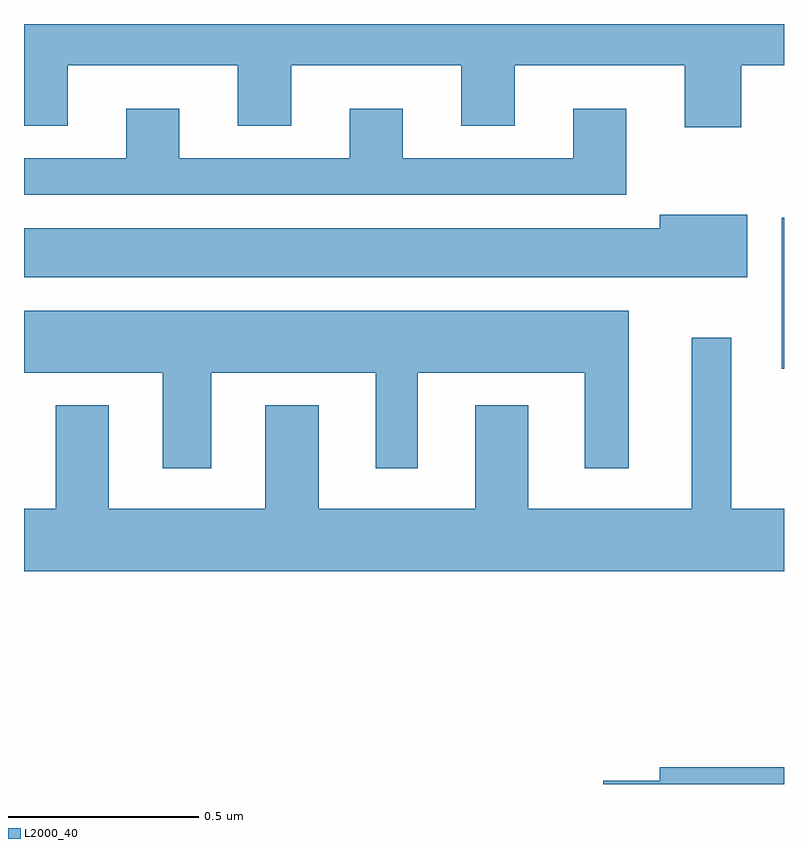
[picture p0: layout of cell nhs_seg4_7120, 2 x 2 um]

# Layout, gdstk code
import gdstk
lib = gdstk.Library(unit=1e-6, precision=1e-09)
def R(c, l, rs):  # rectangles x0, y0, x1, y1
    for r in rs: c.add(gdstk.rectangle(r[:2], r[2:], *l))
def P(c, l, *ps):  # polygons
    for p in ps: c.add(gdstk.Polygon(p, *l))
L2000_40 = (2000, 40)

nhs_seg4_7120 = lib.new_cell('nhs_seg4_7120')
R(nhs_seg4_7120, L2000_40, [(199.994,823.993,200,824.39)])
P(nhs_seg4_7120, L2000_40, [(199.887,824.792),(200,824.792),(200,824.9),(198,824.9),(198,824.632),(198.115,824.632),(198.115,824.792),(198.563,824.792),(198.563,824.632),(198.703,824.632),(198.703,824.792),(199.151,824.792),(199.151,824.632),(199.291,824.632),(199.291,824.792),(199.739,824.792),(199.739,824.628),(199.887,824.628)],
  [(199.585,824.677),(199.445,824.677),(199.445,824.547),(198.997,824.547),(198.997,824.677),(198.857,824.677),(198.857,824.547),(198.409,824.547),(198.409,824.677),(198.269,824.677),(198.269,824.547),(198,824.547),(198,824.451),(199.585,824.451)],
  [(199.903,824.398),(199.673,824.398),(199.673,824.362),(198,824.362),(198,824.234),(199.903,824.234)],
  [(198.493,823.982),(198.926,823.982),(198.926,823.731),(199.036,823.731),(199.036,823.982),(199.475,823.982),(199.475,823.731),(199.591,823.731),(199.591,824.146),(198,824.146),(198,823.982),(198.365,823.982),(198.365,823.731),(198.493,823.731)],
  [(199.757,824.074),(199.757,823.624),(199.327,823.624),(199.327,823.897),(199.187,823.897),(199.187,823.624),(198.775,823.624),(198.775,823.897),(198.635,823.897),(198.635,823.624),(198.223,823.624),(198.223,823.897),(198.083,823.897),(198.083,823.624),(198,823.624),(198,823.46),(200,823.46),(200,823.624),(199.861,823.624),(199.861,824.074)],
  [(200,822.944),(199.673,822.944),(199.673,822.908),(199.524,822.908),(199.524,822.9),(200,822.9)])

lib.write_gds('nhs_seg4_7120.gds')
